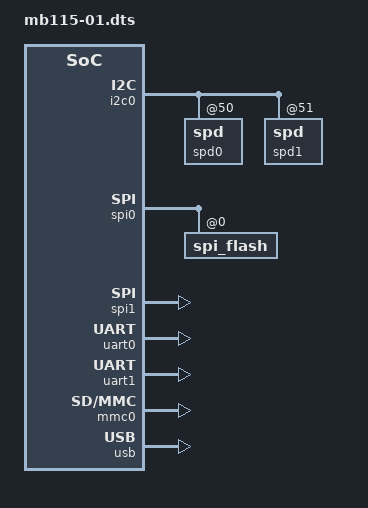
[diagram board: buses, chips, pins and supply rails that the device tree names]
/*
 * Device Tree Source for RCM MB115-01 mainboard
 *
 * This file is licensed under the terms of the GNU General Public
 * License version 2.  This program is licensed "as is" without
 * any warranty of any kind, whether express or implied.
 */

#include "1888tx018.dtsi"

/ {
	config {
		u-boot,spl-payload-offset = <0x40000>;
	};

	chosen {
		stdout-path = "uart0";
		spd0-path = "spd0";
		spd1-path = "spd1";
	};

	aliases {
		spi0 = &spi0;
		mmc0 = &mmc0;
		uart0 = &uart0;
		spd0 = &spd0;
		spd1 = &spd1;
	};

	sram_nor_arbiter0: sram_nor_arbiter {
		status = "okay";
		sram-nor-mux = <1>;      // 0 to route extmem wires to LSIF0, 1 - to MCIF
		ext-mem-mux-mode = <2>;  // page 913 0-SRAM_NOR(used for NOR)), 1-NAND, GBIT_GRETH0,GBIT_GRETH1, 2-GRETH0,GRETH1,NAND(used for NAND)
		ce-manage = <0>;         // LSIF: all cs=>1 controller, cs-mode=1, chip-num=0x10
		pinctrl-names = "default";
		pinctrl-0 =
			<&lsif0_mgpio0_sram_nor>,
			<&lsif0_mgpio1_sram_nor>,
			<&lsif0_mgpio2_sram_nor>,
			<&lsif0_mgpio3_sram_nor>,
			<&lsif0_mgpio4_sram_nor>,
			<&lsif0_mgpio5_sram_nor>,
			<&lsif0_mgpio6_sram_nor>,
			<&lsif0_mgpio7_sram_nor>,
			<&lsif0_mgpio8_sram_nor>;
	};

	lsif0 {
		greth1: greth0@0x3C034000 {
			status = "okay";
			mac-address = [ EC 17 66 77 05 80 ];
		};
	};

	lsif1 {
		i2c0: i2c@0x3C05A000 {
			status = "okay";
			spd0: spd@50 {
				status = "okay";
			};
			spd1: spd@51 {
				status = "okay";
			};
		};

		gpio0: gpio0@0x3C065000 {
			status = "okay";
		};

		gpio1: gpio1@0x3C066000 {
			status = "okay";
		};

		spi0: spi0@0x3C061000 {
			status = "okay";

			spi_flash@0 {
				status = "okay";
			};
		};

		spi1: spi1@0x3C062000 {
			status = "okay";
		};

		uart0: uart0@3C05D000 {  // console
			status = "okay";
		};

		uart1: uart1@3C05E000 {
			status = "okay";
		};

		mmc0: mmc0@0x3C064000 {
			status = "okay";
			carddetect-gpio = <&gpio1 1 0>;
		};

		usb: musb@0x3C06D000 {
			status = "okay";
		};
	};
};

// SRAM, NOR
// /include/ "mb115-02.dtsi"

// Ethernet, NAND
// /include/ "mb115-03.dtsi"

// AV ouput
// /include/ "mb115-04.dtsi"
